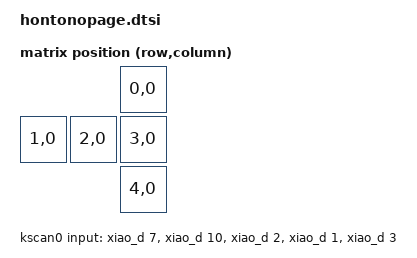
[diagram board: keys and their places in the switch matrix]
#include <dt-bindings/zmk/matrix_transform.h>
#include <physical_layouts.dtsi>

/ {
    chosen {
        zmk,physical-layout = &hontonopage_physical_layout;
    };
    
    hontonopage_physical_layout: hontonopage_physical_layout {
        compatible = "zmk,physical-layout";
        display-name = "Default";
        transform = <&default_transform>;
        kscan = <&kscan0>;

        keys  //                     w   h    x    y     rot    rx    ry
            = <&key_physical_attrs 100 100  200    0       0     0     0>
            , <&key_physical_attrs 100 100    0  100       0     0     0>
            , <&key_physical_attrs 100 100  100  100       0     0     0>
            , <&key_physical_attrs 100 100  200  100       0     0     0>
            , <&key_physical_attrs 100 100  200  200       0     0     0>
            ;
    };

    default_transform: keymap_transform_0 {
        compatible = "zmk,matrix-transform";

        // 5本の input-gpios = 5行 × 1列 のマトリクス
        columns = <1>;
        rows = <5>;
        // RC(row, col) の row が input-gpios の並びと対応
        map = <
            RC(0, 0)   // pos 0（上）
            RC(1, 0)   // pos 1（左）
            RC(2, 0)   // pos 2（下）
            RC(3, 0)   // pos 3（右）
            RC(4, 0)   // pos 4（中央）
        >;
    };

    kscan0: kscan {
        compatible = "zmk,kscan-gpio-direct";
        label = "KSCAN";
        wakeup-source;
        // 並び順＝スキャン順＝ポジション0..4
        input-gpios =
            <&xiao_d 7  (GPIO_ACTIVE_LOW | GPIO_PULL_UP)>,  // pos 0（上）
            <&xiao_d 10 (GPIO_ACTIVE_LOW | GPIO_PULL_UP)>,  // pos 1（左）
            <&xiao_d 2  (GPIO_ACTIVE_LOW | GPIO_PULL_UP)>,  // pos 2（下）
            <&xiao_d 1  (GPIO_ACTIVE_LOW | GPIO_PULL_UP)>,  // pos 3（右）
            <&xiao_d 3  (GPIO_ACTIVE_LOW | GPIO_PULL_UP)>;  // pos 4（中央）
    };
	    soft_off_wakers {
        compatible = "zmk,soft-off-wakeup-sources";
        wakeup-sources = <&kscan0>;
    };

/* encoder0 node is now provided by the QDEC hardware (&qdec0). See bottom of file. */

    sensors: sensors {
        compatible = "zmk,keymap-sensors";
        sensors = <&encoder0>;
        triggers-per-rotation = <6>;
    };
 
    aliases {
        led-red = &led0;
        led-green = &led1;
        led-blue = &led2;
    };

    leds {
        compatible = "gpio-leds";
        status = "okay";
        led0: led_0 {
            gpios = <&gpio0 26 GPIO_ACTIVE_LOW>;  // red LED, connected to P0.26
        };
        led1: led_1 {
            gpios = <&gpio0 30 GPIO_ACTIVE_LOW>;  // green LED, connected to P0.30
        };
        led2: led_2 {
            gpios = <&gpio0 6 GPIO_ACTIVE_LOW>;  // blue LED, connected to P0.06
        };
    };
};

&pinctrl {
    qdec_default: qdec_default {
        group1 {
            /* Xiao BLE の D9 = P1.14, D8 = P1.13 を QDEC A/B に割り当て */
            psels = <NRF_PSEL(QDEC_A, 1, 14)>,
                    <NRF_PSEL(QDEC_B, 1, 13)>;
            bias-pull-up;
        };
    };
};

/* NRFX QDEC ハードウェアを encoder0 として使う（ラベル名はそのまま） */
encoder0: &qdec0 {
    status = "okay";
    led-pre = <0>;
    steps = <12>;     /* Ano encoder: 12 pulses / rotation */
    pinctrl-0 = <&qdec_default>;
    pinctrl-names = "default";
};
